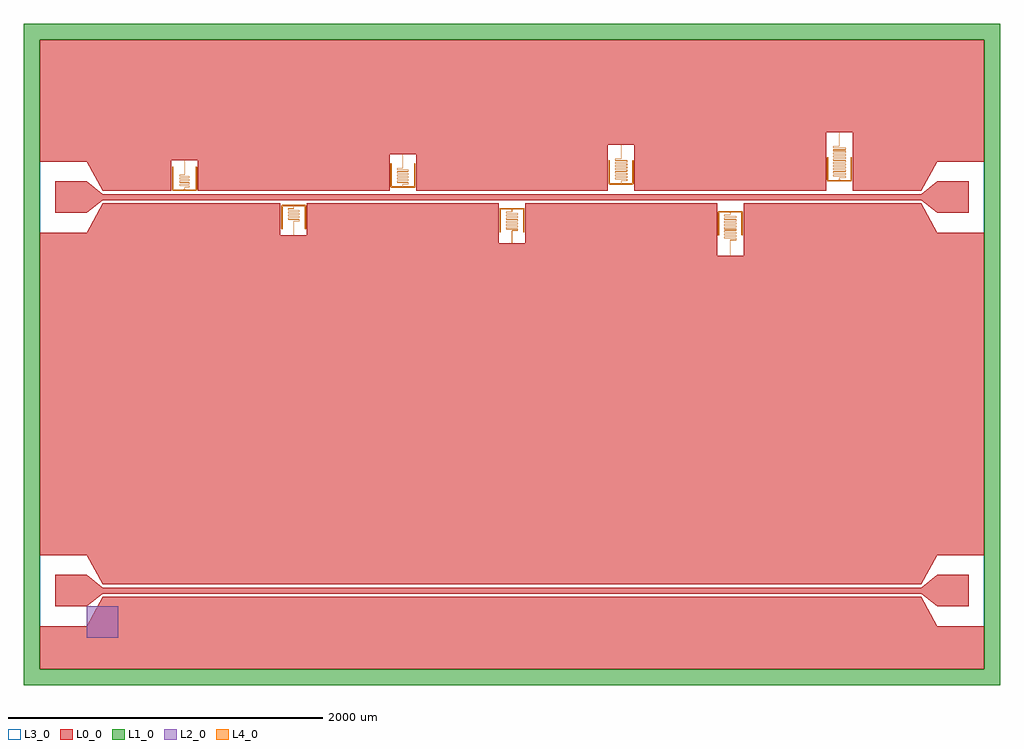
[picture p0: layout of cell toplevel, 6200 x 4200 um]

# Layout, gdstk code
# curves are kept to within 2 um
import gdstk
lib = gdstk.Library(unit=1e-6, precision=1e-09)
def R(c, l, rs):  # rectangles x0, y0, x1, y1
    for r in rs: c.add(gdstk.rectangle(r[:2], r[2:], *l))
def P(c, l, *ps):  # polygons
    for p in ps: c.add(gdstk.Polygon(p, *l))
L0_0 = (0, 0)
L1_0 = (1, 0)
L2_0 = (2, 0)
L3_0 = (3, 0)
L4_0 = (4, 0)

toplevel = lib.new_cell('toplevel')
P(toplevel, L0_0, [(-1996,1232.5),(-1996,1039.5),(-777.333,1039.5),(-777.333,1272.5),(-609.333,1272.5),(-609.333,1039.5),(609.333,1039.5),(609.333,1332.5),(777.333,1332.5),(777.333,1039.5),(1996,1039.5),(1996,1412.5),(2164,1412.5),(2164,1039.5),(2600,1039.5),(2700,1225),(3000,1225),(3000,2000),(-3000,2000),(-3000,1225),(-2700,1225),(-2600,1039.5),(-2164,1039.5),(-2164,1232.5)],
  [(3000,775),(2700,775),(2600,960.5),(1470.667,960.5),(1470.667,627.5),(1302.667,627.5),(1302.667,960.5),(84,960.5),(84,707.5),(-84,707.5),(-84,960.5),(-1302.667,960.5),(-1302.667,757.5),(-1470.667,757.5),(-1470.667,960.5),(-2600,960.5),(-2700,775),(-3000,775),(-3000,-1275),(-2700,-1275),(-2600,-1460.5),(2600,-1460.5),(2700,-1275),(3000,-1275)],
  [(2600,-1539.5),(-2600,-1539.5),(-2700,-1725),(-3000,-1725),(-3000,-2000),(3000,-2000),(3000,-1725),(2700,-1725)],
  [(-2600,1019.5),(-2700,1100),(-2900,1100),(-2900,900),(-2700,900),(-2600,980.5),(2600,980.5),(2700,900),(2900,900),(2900,1100),(2700,1100),(2600,1019.5)],
  [(-2600,-1480.5),(-2700,-1400),(-2900,-1400),(-2900,-1600),(-2700,-1600),(-2600,-1519.5),(2600,-1519.5),(2700,-1600),(2900,-1600),(2900,-1400),(2700,-1400),(2600,-1480.5)])
P(toplevel, L1_0, [(3100,2100),(-3100,2100),(-3100,-2000),(-3000,-2000),(-3000,2000),(3000,2000),(3000,-2000),(-3000,-2000),(-3100,-2000),(-3100,-2100),(3100,-2100)])
R(toplevel, L2_0, [(-2700,-1800,-2500,-1600)])
R(toplevel, L3_0, [(-3000,-2000,3000,2000)])
P(toplevel, L4_0, [(-2079.698,1061.563),(-2079.382,1062.151),(-2050.167,1062.407),(-2049.701,1063.492),(-2050.029,1072.482),(-2109.251,1072.818),(-2109.698,1073.433),(-2109.582,1082.016),(-2050.636,1082.229),(-2049.708,1083.31),(-2049.883,1092.295),(-2051.019,1092.8),(-2109.255,1092.819),(-2109.698,1093.423),(-2109.607,1101.979),(-2050.381,1102.297),(-2049.7,1103.622),(-2049.997,1112.448),(-2108.965,1112.8),(-2109.669,1113.183),(-2109.584,1122.014),(-2050.991,1122.201),(-2049.752,1123.026),(-2049.711,1131.726),(-2050.636,1132.771),(-2109.662,1133.157),(-2109.378,1142.152),(-2080.935,1142.202),(-2079.768,1142.967),(-2079.7,1232.5),(-2080.3,1232.5),(-2080.343,1143.139),(-2109.573,1142.719),(-2110.293,1141.677),(-2110.241,1133),(-2109.008,1132.201),(-2050.745,1132.181),(-2050.303,1131.591),(-2050.334,1123.171),(-2051.035,1122.8),(-2109.364,1122.771),(-2110.289,1121.726),(-2110.253,1113.045),(-2109.008,1112.201),(-2050.749,1112.182),(-2050.304,1111.604),(-2050.426,1102.972),(-2108.981,1102.8),(-2110.125,1102.282),(-2110.299,1101.531),(-2110.292,1093.304),(-2109.364,1092.229),(-2051.055,1092.2),(-2050.394,1091.982),(-2050.302,1083.428),(-2050.745,1082.819),(-2109.619,1082.703),(-2110.298,1081.56),(-2110.293,1073.322),(-2109.37,1072.23),(-2051.065,1072.2),(-2050.301,1071.51),(-2050.381,1063.043),(-2079.827,1062.597),(-2080.296,1061.624),(-2080.3,1052.5),(-2090,1047.5),(-2148.088,1047.501),(-2150.606,1047.911),(-2151,1050.606),(-2151.004,1189.674),(-2152.429,1192.564),(-2155.522,1193.466),(-2157.949,1192.202),(-2158.996,1189.674),(-2159,1050.582),(-2158.446,1045.984),(-2156.633,1042.651),(-2153.449,1040.389),(-2149.341,1039.533),(-2011.461,1039.506),(-2007.212,1040.141),(-2003.946,1042.051),(-2001.758,1045.382),(-2001.006,1049.961),(-2001,1189.5),(-2001.375,1191.19),(-2002.429,1192.564),(-2005.522,1193.466),(-2007.949,1192.202),(-2008.996,1189.674),(-2009.338,1047.996),(-2011.786,1047.502),(-2070,1047.5),(-2079.7,1052.5)],
  [(-1387.06,928.021),(-1421.442,927.629),(-1421.966,926.508),(-1421.585,917.471),(-1352.44,917.185),(-1351.969,916.572),(-1352.1,907.964),(-1420.999,907.776),(-1421.96,906.677),(-1421.691,897.576),(-1420.625,897.2),(-1352.657,897.199),(-1351.967,896.378),(-1352.093,887.972),(-1420.664,887.799),(-1421.915,886.974),(-1421.67,877.552),(-1352.711,877.2),(-1352.004,876.843),(-1352.09,867.977),(-1420.664,867.799),(-1421.901,867.027),(-1421.956,858.274),(-1420.993,857.223),(-1352.013,856.871),(-1352.316,847.84),(-1385.709,847.799),(-1386.882,847.086),(-1386.967,757.5),(-1386.367,757.5),(-1386.315,846.888),(-1352.14,847.266),(-1351.374,848.316),(-1351.441,857.053),(-1352.675,857.8),(-1420.897,857.815),(-1421.363,858.405),(-1421.325,866.857),(-1352.341,867.223),(-1351.378,868.268),(-1351.425,877),(-1352.669,877.799),(-1420.897,877.815),(-1421.363,878.405),(-1421.333,886.828),(-1420.622,887.2),(-1352.36,887.22),(-1351.381,888.243),(-1351.425,897),(-1352.624,897.799),(-1420.596,897.8),(-1421.366,898.495),(-1421.364,906.572),(-1420.897,907.185),(-1352.087,907.283),(-1351.369,908.429),(-1351.373,916.671),(-1352.334,917.776),(-1420.596,917.8),(-1421.366,918.48),(-1421.278,926.971),(-1386.897,927.368),(-1386.371,928.364),(-1386.367,937.5),(-1376.667,942.5),(-1318.579,942.499),(-1316.061,942.089),(-1315.667,939.492),(-1315.663,800.326),(-1314.238,797.436),(-1311.145,796.534),(-1308.718,797.798),(-1307.67,800.326),(-1307.667,939.53),(-1308.204,943.962),(-1310.033,947.349),(-1313.162,949.587),(-1317.325,950.467),(-1455.205,950.494),(-1459.455,949.859),(-1462.67,947.996),(-1464.888,944.673),(-1465.66,940.079),(-1465.667,800.5),(-1465.292,798.809),(-1464.238,797.436),(-1461.145,796.534),(-1458.718,797.798),(-1457.67,800.326),(-1457.322,942.016),(-1454.755,942.499),(-1396.667,942.5),(-1386.967,937.5)],
  [(-693.032,1081.539),(-692.799,1082.115),(-658.84,1082.257),(-658.044,1083.28),(-658.033,1091.378),(-658.714,1092.703),(-727.294,1092.8),(-728.009,1093.217),(-727.91,1102.023),(-659.33,1102.2),(-658.476,1102.424),(-658.069,1103.097),(-658.335,1112.453),(-659.007,1112.777),(-727.294,1112.8),(-728.007,1113.205),(-727.91,1122.023),(-659.33,1122.2),(-658.076,1123.065),(-658.33,1132.448),(-659.007,1132.777),(-727.289,1132.8),(-728.002,1133.183),(-727.91,1142.023),(-659.336,1142.2),(-658.085,1143.026),(-658.33,1152.448),(-659.007,1152.777),(-727.289,1152.8),(-727.996,1153.157),(-727.91,1162.023),(-659.336,1162.2),(-658.099,1162.973),(-658.044,1171.726),(-659.007,1172.777),(-727.283,1172.8),(-727.987,1173.129),(-728.031,1181.563),(-727.684,1182.16),(-694.291,1182.201),(-693.118,1182.914),(-693.033,1272.5),(-693.633,1272.5),(-693.685,1183.112),(-727.86,1182.734),(-728.626,1181.684),(-728.559,1172.947),(-727.325,1172.2),(-659.102,1172.185),(-658.637,1171.595),(-658.675,1163.143),(-659.378,1162.8),(-727.659,1162.777),(-728.622,1161.732),(-728.575,1153),(-727.331,1152.2),(-659.102,1152.185),(-658.637,1151.595),(-658.667,1143.171),(-659.378,1142.8),(-727.659,1142.777),(-728.622,1141.732),(-728.586,1133.045),(-727.331,1132.2),(-659.098,1132.184),(-658.637,1131.595),(-658.662,1123.194),(-659.373,1122.8),(-727.659,1122.777),(-728.621,1121.738),(-728.595,1113.084),(-728.185,1112.42),(-727.336,1112.2),(-659.098,1112.184),(-658.637,1111.6),(-658.658,1103.213),(-659.373,1102.8),(-727.659,1102.777),(-728.621,1101.738),(-728.599,1093.104),(-727.387,1092.201),(-659.343,1092.2),(-658.765,1092.034),(-658.633,1091.378),(-658.732,1083.011),(-693.083,1082.643),(-693.628,1081.642),(-693.633,1072.5),(-703.333,1067.5),(-761.421,1067.501),(-763.939,1067.911),(-764.333,1070.508),(-764.337,1209.674),(-764.785,1211.347),(-765.762,1212.564),(-767.298,1213.364),(-768.855,1213.466),(-771.282,1212.202),(-772.33,1209.674),(-772.333,1070.507),(-771.796,1066.038),(-769.967,1062.651),(-766.782,1060.389),(-762.675,1059.533),(-624.794,1059.506),(-620.545,1060.141),(-617.279,1062.051),(-615.112,1065.327),(-614.34,1069.921),(-614.333,1209.5),(-614.708,1211.19),(-615.762,1212.564),(-617.298,1213.364),(-618.855,1213.466),(-621.282,1212.202),(-622.33,1209.674),(-622.333,1070.672),(-622.678,1067.984),(-625.245,1067.501),(-683.333,1067.5),(-693.033,1072.5)],
  [(-0.54,907.882),(-35.731,907.746),(-36.539,906.72),(-36.55,898.622),(-35.869,897.297),(35.21,897.2),(35.927,896.779),(35.825,887.975),(-35.253,887.799),(-36.108,887.576),(-36.515,886.896),(-36.248,877.547),(-35.563,877.221),(35.21,877.2),(35.925,876.791),(35.825,867.975),(-35.247,867.799),(-36.095,867.585),(-36.509,866.928),(-36.248,857.547),(-35.563,857.221),(35.205,857.2),(35.921,856.81),(35.825,847.975),(-35.247,847.799),(-36.083,847.593),(-36.5,846.968),(-36.248,837.547),(-35.563,837.221),(35.205,837.2),(35.914,836.836),(35.825,827.975),(-35.242,827.8),(-36.488,827.013),(-36.538,818.268),(-36.248,817.547),(-35.563,817.221),(35.2,817.2),(35.906,816.864),(35.825,807.975),(-35.242,807.8),(-36.472,807.066),(-36.539,798.274),(-36.248,797.547),(-35.563,797.221),(35.2,797.2),(35.896,796.895),(35.948,788.437),(35.593,787.838),(0.969,787.799),(-0.195,787.139),(-0.3,707.5),(0.3,707.5),(0.361,786.914),(1.02,787.2),(35.763,787.262),(36.542,788.316),(36.46,797.099),(35.236,797.8),(-35.477,797.815),(-35.947,798.405),(-35.902,806.878),(-35.2,807.2),(35.563,807.221),(36.248,807.547),(36.538,808.268),(36.48,817.04),(35.242,817.8),(-35.477,817.815),(-35.947,818.405),(-35.911,826.847),(-35.205,827.2),(35.563,827.221),(36.248,827.547),(36.538,828.268),(36.495,836.987),(36.07,837.601),(35.247,837.799),(-35.477,837.815),(-35.946,838.4),(-35.918,846.821),(-35.205,847.2),(35.563,847.221),(36.538,848.261),(36.504,856.948),(36.089,857.589),(35.247,857.799),(-35.477,857.815),(-35.946,858.4),(-35.922,866.802),(-35.205,867.2),(35.563,867.221),(36.538,868.261),(36.513,876.909),(36.102,877.58),(35.253,877.799),(-35.477,877.815),(-35.946,878.4),(-35.926,886.783),(-35.21,887.2),(35.563,887.221),(36.538,888.261),(36.517,896.89),(36.126,897.562),(35.298,897.799),(-35.24,897.8),(-35.818,897.966),(-35.95,898.622),(-35.849,906.992),(-0.263,907.35),(0.295,908.352),(0.3,917.5),(10,922.5),(68.088,922.499),(70.606,922.089),(71,919.394),(71.004,780.326),(71.375,778.809),(72.429,777.436),(73.797,776.685),(75.349,776.515),(77.949,777.798),(78.996,780.326),(79,919.418),(78.446,924.016),(76.633,927.349),(73.504,929.587),(69.341,930.467),(-68.539,930.494),(-72.788,929.859),(-76.054,927.949),(-78.242,924.617),(-78.994,920.039),(-79,780.5),(-78.625,778.809),(-77.571,777.436),(-76.035,776.636),(-74.478,776.534),(-72.051,777.798),(-71.004,780.326),(-71,919.394),(-70.662,922.004),(-68.213,922.498),(-10,922.5),(-0.3,917.5)],
  [(693.636,1101.572),(693.994,1102.163),(730.583,1102.357),(731.133,1103.492),(731.13,1111.618),(730.728,1112.548),(656.615,1112.814),(656.136,1113.428),(656.274,1122.044),(730.147,1122.221),(730.842,1122.558),(731.125,1123.31),(730.896,1132.376),(729.792,1132.8),(656.615,1132.814),(656.136,1133.419),(656.232,1141.989),(730.147,1142.221),(730.837,1142.552),(731.124,1143.292),(730.976,1152.25),(729.808,1152.8),(656.611,1152.814),(656.136,1153.414),(656.207,1161.942),(656.893,1162.2),(730.14,1162.22),(730.831,1162.547),(731.123,1163.28),(731.023,1172.152),(729.814,1172.8),(656.611,1172.814),(656.136,1173.409),(656.19,1181.901),(656.888,1182.2),(730.14,1182.22),(730.831,1182.547),(731.122,1183.274),(731.05,1192.079),(729.819,1192.8),(656.611,1192.814),(656.137,1193.405),(656.178,1201.868),(656.883,1202.2),(730.14,1202.22),(730.831,1202.547),(731.122,1203.268),(731.069,1212.02),(730.641,1212.61),(729.825,1212.8),(656.611,1212.814),(656.137,1213.405),(656.174,1221.854),(656.883,1222.2),(729.882,1222.201),(731.075,1223),(731.119,1231.763),(730.82,1232.465),(730.128,1232.782),(656.883,1232.8),(656.184,1233.115),(656.135,1241.567),(656.497,1242.164),(692.364,1242.201),(693.539,1242.888),(693.633,1332.5),(693.033,1332.5),(692.977,1243.098),(692.314,1242.8),(656.333,1242.741),(655.541,1241.69),(655.616,1232.921),(656.847,1232.2),(730.048,1232.187),(730.529,1231.614),(730.407,1222.972),(656.842,1222.8),(656.026,1222.61),(655.597,1222.02),(655.545,1213.268),(655.835,1212.547),(656.526,1212.22),(729.783,1212.2),(730.493,1211.854),(730.53,1203.405),(730.056,1202.814),(656.842,1202.8),(656.038,1202.617),(655.605,1202.046),(655.545,1193.268),(655.835,1192.547),(656.526,1192.22),(729.783,1192.2),(730.483,1191.885),(730.53,1183.405),(730.056,1182.814),(656.847,1182.8),(655.628,1182.112),(655.544,1173.274),(655.835,1172.547),(656.526,1172.22),(730.248,1172.139),(730.53,1163.409),(730.056,1162.814),(656.858,1162.8),(656.109,1162.657),(655.534,1161.508),(655.543,1153.286),(655.83,1152.552),(656.526,1152.22),(729.773,1152.2),(730.448,1151.965),(730.53,1143.414),(730.052,1142.814),(656.864,1142.8),(655.724,1142.308),(655.534,1141.537),(655.542,1133.298),(655.825,1132.558),(656.52,1132.221),(729.768,1132.2),(730.416,1132.016),(730.533,1131.495),(730.531,1123.423),(730.052,1122.814),(656.267,1122.722),(655.536,1121.583),(655.54,1113.328),(655.82,1112.564),(656.52,1112.221),(729.758,1112.2),(730.359,1112.075),(730.532,1111.524),(730.442,1103.024),(693.596,1102.65),(693.039,1101.648),(693.033,1092.5),(683.333,1087.5),(625.245,1087.501),(622.73,1087.908),(622.333,1090.672),(622.33,1229.674),(621.958,1231.19),(621.036,1232.449),(619.701,1233.259),(617.985,1233.485),(616.486,1233.048),(615.384,1232.202),(614.337,1229.674),(614.333,1090.656),(614.839,1086.146),(616.7,1082.651),(619.884,1080.389),(623.992,1079.533),(761.872,1079.506),(766.121,1080.141),(769.387,1082.051),(771.575,1085.382),(772.326,1089.88),(772.333,1229.5),(772.029,1231.031),(771.036,1232.449),(769.536,1233.315),(767.811,1233.466),(765.384,1232.202),(764.337,1229.674),(764.333,1090.508),(763.992,1087.99),(761.547,1087.502),(703.333,1087.5),(693.633,1092.5)],
  [(1386.271,888.016),(1349.417,887.643),(1348.867,886.508),(1348.87,878.382),(1349.272,877.452),(1350.224,877.2),(1423.385,877.186),(1423.864,876.572),(1423.726,867.956),(1349.853,867.779),(1349.158,867.442),(1348.875,866.69),(1349.104,857.624),(1350.208,857.2),(1423.385,857.186),(1423.864,856.581),(1423.767,848.011),(1349.853,847.779),(1349.163,847.448),(1348.876,846.708),(1349.027,837.744),(1350.197,837.2),(1423.377,837.187),(1423.862,836.614),(1423.733,827.964),(1350.118,827.799),(1349.29,827.562),(1348.9,826.89),(1348.879,818.255),(1349.174,817.541),(1349.86,817.22),(1423.127,817.2),(1423.844,816.779),(1423.74,807.972),(1350.169,807.799),(1349.309,807.576),(1348.903,806.903),(1348.879,798.261),(1349.174,797.541),(1349.86,797.22),(1423.122,797.2),(1423.84,796.798),(1423.74,787.972),(1350.169,787.799),(1349.321,787.585),(1348.909,786.935),(1348.879,778.261),(1349.174,777.541),(1349.86,777.22),(1423.122,777.2),(1423.835,776.817),(1423.74,767.972),(1350.175,767.8),(1349.34,767.597),(1348.918,766.974),(1348.879,758.261),(1349.174,757.541),(1349.86,757.22),(1423.117,757.2),(1423.83,756.84),(1423.863,748.4),(1423.389,747.814),(1350.175,747.8),(1349.359,747.609),(1348.931,747.02),(1348.878,738.268),(1349.169,737.547),(1349.86,737.22),(1423.117,737.2),(1423.822,736.868),(1423.864,728.433),(1423.502,727.836),(1387.63,727.799),(1386.872,727.617),(1386.449,727.079),(1386.367,627.5),(1386.967,627.5),(1387.017,726.885),(1387.686,727.2),(1423.667,727.259),(1424.459,728.31),(1424.395,737.046),(1423.961,737.617),(1423.158,737.8),(1349.944,737.814),(1349.47,738.405),(1349.507,746.854),(1350.216,747.2),(1423.474,747.22),(1424.165,747.547),(1424.455,748.268),(1424.408,757),(1423.981,757.605),(1423.158,757.8),(1349.944,757.814),(1349.47,758.4),(1349.5,766.828),(1350.211,767.2),(1423.474,767.22),(1424.159,767.541),(1424.454,768.261),(1424.42,776.954),(1423.999,777.593),(1423.164,777.799),(1349.944,777.814),(1349.47,778.4),(1349.495,786.806),(1350.211,787.2),(1423.474,787.22),(1424.159,787.541),(1424.454,788.261),(1424.427,796.922),(1424.012,797.585),(1423.164,797.799),(1349.944,797.814),(1349.47,798.4),(1349.491,806.787),(1350.211,807.2),(1423.474,807.22),(1424.159,807.541),(1424.454,808.255),(1424.433,816.89),(1424.024,817.576),(1423.164,817.799),(1349.944,817.814),(1349.47,818.4),(1349.49,826.779),(1350.211,827.2),(1423.221,827.201),(1423.785,827.297),(1424.41,828.006),(1424.452,836.763),(1424.148,837.47),(1423.455,837.782),(1350.227,837.8),(1349.553,838.032),(1349.47,846.586),(1349.948,847.186),(1423.136,847.2),(1424.276,847.692),(1424.466,848.463),(1424.458,856.702),(1424.175,857.442),(1423.48,857.779),(1350.232,857.8),(1349.584,857.984),(1349.467,858.505),(1349.469,866.577),(1349.948,867.186),(1423.733,867.278),(1424.464,868.417),(1424.46,876.671),(1424.18,877.436),(1423.48,877.779),(1350.242,877.8),(1349.641,877.925),(1349.468,878.476),(1349.558,886.976),(1386.404,887.35),(1386.961,888.352),(1386.967,897.5),(1396.667,902.5),(1454.755,902.499),(1457.27,902.092),(1457.667,899.294),(1457.67,760.326),(1458.041,758.809),(1459.095,757.436),(1460.464,756.685),(1462.015,756.515),(1463.514,756.952),(1464.616,757.798),(1465.362,758.969),(1465.663,760.326),(1465.667,899.27),(1465.161,903.854),(1463.345,907.297),(1460.171,909.587),(1456.008,910.467),(1318.128,910.494),(1313.878,909.859),(1310.613,907.949),(1309.346,906.442),(1308.404,904.562),(1307.674,900.12),(1307.667,760.5),(1308.042,758.809),(1309.095,757.436),(1310.631,756.636),(1312.189,756.534),(1313.514,756.952),(1314.616,757.798),(1315.362,758.969),(1315.663,760.326),(1315.667,899.492),(1316.008,902.01),(1318.453,902.498),(1376.667,902.5),(1386.367,897.5)],
  [(2080.302,1121.577),(2080.671,1122.166),(2119.724,1122.343),(2120.299,1123.492),(2120.296,1131.624),(2119.87,1132.567),(2118.937,1132.8),(2040.79,1132.813),(2040.302,1133.428),(2040.448,1142.052),(2119.301,1142.219),(2120.008,1142.558),(2120.293,1143.328),(2120.298,1151.583),(2119.987,1152.465),(2118.948,1152.8),(2041,1152.801),(2040.432,1152.966),(2040.3,1153.622),(2040.43,1162.032),(2118.997,1162.2),(2119.876,1162.437),(2120.275,1163.161),(2120.287,1171.745),(2119.987,1172.465),(2119.294,1172.782),(2041.045,1172.8),(2040.319,1173.245),(2040.428,1182.03),(2118.997,1182.2),(2119.87,1182.433),(2120.272,1183.142),(2120.287,1191.745),(2119.987,1192.465),(2119.294,1192.782),(2041.045,1192.8),(2040.321,1193.233),(2040.428,1202.03),(2118.997,1202.2),(2119.864,1202.428),(2120.268,1203.117),(2120.287,1211.745),(2119.987,1212.465),(2119.294,1212.782),(2041.045,1212.8),(2040.324,1213.217),(2040.428,1222.03),(2118.997,1222.2),(2119.852,1222.42),(2120.263,1223.091),(2120.287,1231.745),(2119.987,1232.465),(2119.294,1232.782),(2041.045,1232.8),(2040.327,1233.201),(2040.428,1242.03),(2118.992,1242.2),(2119.839,1242.411),(2120.256,1243.058),(2120.288,1251.738),(2119.992,1252.459),(2119.294,1252.782),(2041.05,1252.8),(2040.331,1253.183),(2040.304,1261.6),(2040.786,1262.187),(2118.992,1262.2),(2119.827,1262.403),(2120.248,1263.026),(2120.288,1271.738),(2119.992,1272.459),(2119.294,1272.782),(2041.05,1272.8),(2040.337,1273.16),(2040.304,1281.6),(2040.786,1282.187),(2118.986,1282.2),(2119.808,1282.39),(2120.236,1282.98),(2120.288,1291.738),(2119.992,1292.459),(2119.294,1292.782),(2041.05,1292.8),(2040.344,1293.136),(2040.304,1301.6),(2040.786,1302.187),(2118.981,1302.2),(2119.782,1302.375),(2120.219,1302.927),(2120.288,1311.732),(2119.992,1312.459),(2119.294,1312.782),(2041.055,1312.8),(2040.354,1313.105),(2040.302,1321.567),(2040.675,1322.167),(2079.026,1322.201),(2079.769,1322.368),(2080.195,1322.861),(2080.3,1412.5),(2079.7,1412.5),(2079.639,1323.086),(2078.975,1322.8),(2040.519,1322.746),(2039.942,1322.382),(2039.708,1321.69),(2039.792,1312.894),(2040.231,1312.368),(2041.019,1312.2),(2119.21,1312.187),(2119.696,1311.6),(2119.651,1303.118),(2118.945,1302.8),(2040.706,1302.782),(2040.007,1302.459),(2039.712,1301.732),(2039.772,1292.954),(2040.205,1292.383),(2041.014,1292.2),(2119.214,1292.187),(2119.696,1291.6),(2119.659,1283.146),(2118.95,1282.8),(2040.706,1282.782),(2040.007,1282.459),(2039.712,1281.738),(2039.757,1273.006),(2040.18,1272.398),(2041.008,1272.2),(2119.214,1272.187),(2119.696,1271.6),(2119.666,1263.171),(2118.95,1262.8),(2040.706,1262.782),(2040.007,1262.459),(2039.712,1261.738),(2039.747,1253.045),(2040.167,1252.407),(2041.008,1252.2),(2119.214,1252.187),(2119.696,1251.6),(2119.671,1243.19),(2118.955,1242.8),(2040.706,1242.782),(2040.013,1242.465),(2039.713,1241.745),(2039.74,1233.078),(2040.155,1232.415),(2041.008,1232.2),(2119.214,1232.187),(2119.696,1231.604),(2119.675,1223.209),(2118.955,1222.8),(2040.706,1222.782),(2040.013,1222.465),(2039.713,1221.745),(2039.735,1213.104),(2040.142,1212.424),(2041.003,1212.2),(2119.214,1212.187),(2119.696,1211.604),(2119.678,1203.225),(2118.955,1202.8),(2040.706,1202.782),(2040.013,1202.465),(2039.713,1201.745),(2039.73,1193.129),(2040.136,1192.428),(2041.003,1192.2),(2119.214,1192.187),(2119.696,1191.604),(2119.68,1183.241),(2118.955,1182.8),(2040.706,1182.782),(2040.013,1182.465),(2039.713,1181.745),(2039.727,1173.149),(2040.13,1172.433),(2041.003,1172.2),(2119.214,1172.187),(2119.696,1171.604),(2119.682,1163.253),(2118.96,1162.8),(2040.718,1162.783),(2040.018,1162.47),(2039.715,1161.763),(2039.759,1153),(2040.394,1152.292),(2040.969,1152.201),(2118.925,1152.2),(2119.555,1152.048),(2119.699,1151.51),(2119.698,1143.428),(2119.21,1142.813),(2040.447,1142.726),(2040.024,1142.476),(2039.702,1141.589),(2039.707,1133.328),(2039.991,1132.558),(2040.699,1132.219),(2118.92,1132.2),(2119.516,1132.082),(2119.699,1131.524),(2119.607,1123.021),(2080.283,1122.66),(2079.705,1121.648),(2079.7,1112.5),(2070,1107.5),(2011.912,1107.501),(2009.394,1107.911),(2009,1110.573),(2008.996,1249.674),(2008.548,1251.347),(2007.571,1252.564),(2006.203,1253.315),(2004.651,1253.485),(2003.309,1253.125),(2002.051,1252.202),(2001.304,1251.031),(2001.004,1249.674),(2001,1110.545),(2001.554,1105.984),(2003.367,1102.651),(2004.787,1101.365),(2006.551,1100.389),(2010.659,1099.533),(2148.539,1099.506),(2152.788,1100.141),(2154.558,1100.941),(2156.054,1102.051),(2157.32,1103.558),(2158.242,1105.382),(2158.788,1107.454),(2158.994,1109.961),(2159,1249.5),(2158.625,1251.19),(2157.571,1252.564),(2156.035,1253.364),(2154.478,1253.466),(2153.153,1253.048),(2152.051,1252.202),(2151.304,1251.031),(2151.004,1249.674),(2151,1110.606),(2150.662,1107.996),(2149.86,1107.626),(2148.213,1107.502),(2090,1107.5),(2080.3,1112.5)])

lib.write_gds('toplevel.gds')
